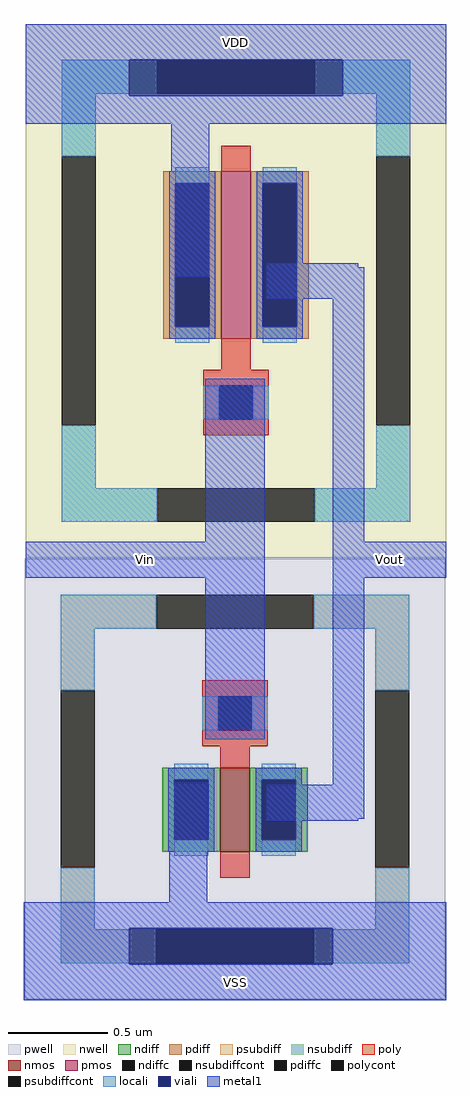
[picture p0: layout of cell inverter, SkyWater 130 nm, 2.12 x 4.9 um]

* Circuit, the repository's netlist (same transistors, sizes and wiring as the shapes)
* SPICE3 file created from inverter.ext - technology: sky130A

*.subckt inverter VSS VDD Vin Vout
X0 Vout Vin VDD VDD sky130_fd_pr__pfet_01v8 ad=0.244 pd=2.26 as=0.244 ps=2.26 w=0.84 l=0.15
X1 Vout Vin VSS VSS sky130_fd_pr__nfet_01v8 ad=0.122 pd=1.42 as=0.122 ps=1.42 w=0.42 l=0.15
*.ends

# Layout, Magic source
magic
tech sky130A
magscale 1 2
<< pwell >>
rect 315 130 661 433
rect 315 -9 737 130
<< viali >>
rect 420 898 634 934
rect 420 26 624 62
<< metal1 >>
rect 316 934 738 970
rect 316 898 420 934
rect 634 898 738 934
rect 316 870 738 898
rect 462 716 500 870
rect 558 726 650 730
rect 558 694 656 726
rect 496 450 556 614
rect 316 414 556 450
rect 496 252 556 414
rect 624 450 656 694
rect 624 414 738 450
rect 460 88 498 208
rect 624 206 656 414
rect 558 172 656 206
rect 558 170 650 172
rect 314 62 738 88
rect 314 26 420 62
rect 624 26 738 62
rect 314 -10 738 26
use sky130_fd_pr__nfet_01v8_EDL9KC  sky130_fd_pr__nfet_01v8_EDL9KC_0
transform 1 0 526 0 1 212
box -211 -221 211 221
use sky130_fd_pr__pfet_01v8_2MG8BZ  sky130_fd_pr__pfet_01v8_2MG8BZ_0
transform 1 0 527 0 1 702
box -211 -268 211 268
<< labels >>
flabel metal1 314 -10 738 26 0 FreeSans 160 0 0 0 VSS
port 5 nsew
flabel metal1 316 414 556 450 0 FreeSans 160 0 0 0 Vin
port 7 nsew
flabel metal1 624 414 738 450 0 FreeSans 160 0 0 0 Vout
port 8 nsew
flabel metal1 316 932 738 970 0 FreeSans 160 0 0 0 VDD
port 6 nsew
<< end >>

# cell sky130_fd_pr__nfet_01v8_EDL9KC: kit device sky130_fd_pr__nfet_01v8, w 0.420 l 0.150 m 1 nf 1 diffcov 100 polycov 100 guard 1 glc 1 grc 1 gtc 1 gbc 1 tbcov 100 rlcov 100 topc 1 botc 0 poverlap 0 doverlap 1 lmin 0.15 wmin 0.42 compatible {sky130_fd_pr__nfet_01v8 sky130_fd_pr__nfet_01v8_lvt sky130_fd_bs_flash__special_sonosfet_star sky130_fd_pr__nfet_g5v0d10v5 sky130_fd_pr__nfet_05v0_nvt sky130_fd_pr__nfet_03v3_nvt} full_metal 1 viasrc 100 viadrn 100 viagate 100 viagb 0 viagr 0 viagl 0 viagt 0

# cell sky130_fd_pr__pfet_01v8_2MG8BZ: kit device sky130_fd_pr__pfet_01v8, w 0.84 l 0.15 m 1 nf 1 diffcov 100 polycov 100 guard 1 glc 1 grc 1 gtc 1 gbc 1 tbcov 100 rlcov 100 topc 0 botc 1 poverlap 0 doverlap 1 lmin 0.15 wmin 0.42 compatible {sky130_fd_pr__pfet_01v8 sky130_fd_pr__pfet_01v8_lvt sky130_fd_pr__pfet_01v8_hvt sky130_fd_pr__pfet_g5v0d10v5} full_metal 1 viasrc 100 viadrn 100 viagate 100 viagb 0 viagr 0 viagl 0 viagt 0
